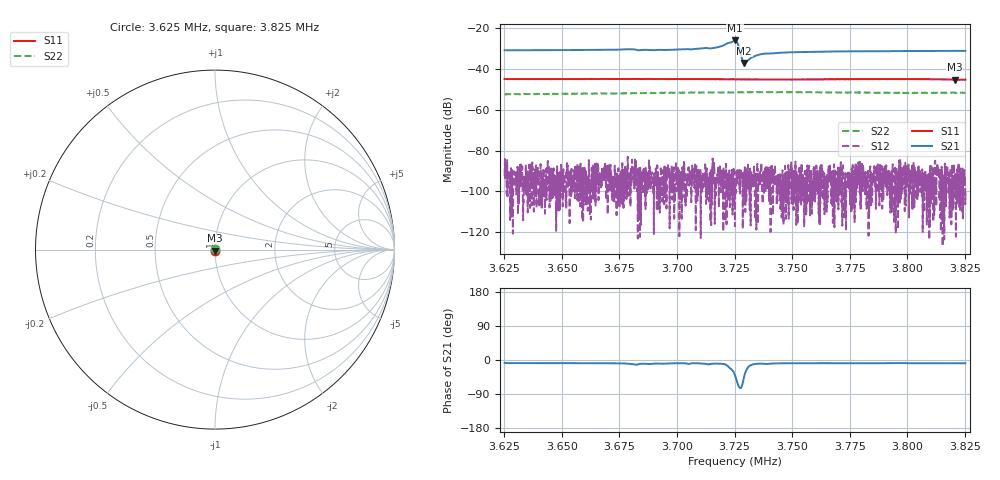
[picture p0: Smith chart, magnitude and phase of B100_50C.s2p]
# Hz S dB R 50.000
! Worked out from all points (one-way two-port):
!   6401 points, 3.625 MHz to 3.825 MHz, reference 50 ohm
!   highest |S21| = -25.96 dB at 3.725 MHz (marker M1); lowest = -37.0 dB at 3.729 MHz (marker M2)
!   lowest |S11| = -45.2 dB at 3.821 MHz (marker M3), VSWR 1.01, Z = 49.9 - j0.544 ohm
!   |S11| at or under -10 dB: start of sweep to end of sweep
!   |S22| runs from -52.5 to -51.2 dB; largest |S21 - S12| = 0.05
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3625156  -44.83 -94.7  -30.75 -7.5  -92.32 53.5  -52.18 109.3
3658500  -44.88 -93.7  -30.65 -8.4  -99.85 77.3  -52.08 109.8
3678531  -44.83 -94.0  -30.29 -9.8  -86.35 90.9  -51.84 106.0
3683468  -44.82 -94.1  -30.78 -10.6  -90.33 -20.9  -51.87 106.0
3691844  -44.83 -94.4  -30.59 -9.3  -109.22 -89.3  -51.62 104.6
3715094  -44.96 -94.1  -29.79 -10.0  -106.52 155.3  -51.40 105.3
3719000  -44.98 -94.1  -28.89 -9.8  -97.88 115.7  -51.49 105.7
3722062  -45.01 -94.1  -27.22 -16.5  -96.75 125.6  -51.47 106.3
3725156  -45.04 -94.2  -25.96 -40.4  -110.92 139.0  -51.32 107.3
3725750  -45.05 -94.2  -26.30 -51.9  -91.52 65.0  -51.42 106.8
3726344  -45.05 -94.4  -27.53 -63.2  -91.50 90.3  -51.40 107.2
3726875  -45.04 -93.9  -29.27 -70.5  -90.92 83.7  -51.29 107.8
3728281  -45.05 -94.7  -35.45 -66.0  -91.60 102.1  -51.29 106.9
3728718  -45.03 -94.5  -36.66 -54.7  -92.29 56.2  -51.31 107.0
3729156  -45.05 -94.2  -37.00 -43.0  -95.99 -104.8  -51.34 107.2
3729937  -45.07 -94.2  -36.58 -28.8  -94.70 148.1  -51.33 107.3
3733468  -45.07 -94.3  -33.73 -11.2  -90.17 36.6  -51.33 107.5
3737437  -45.09 -94.1  -32.51 -9.8  -92.32 29.5  -51.35 109.0
3758500  -45.07 -94.4  -31.51 -8.5  -108.44 -22.0  -51.36 110.8
3791844  -44.88 -95.1  -31.25 -8.2  -91.96 57.3  -51.65 108.6
3820625  -45.23 -95.5  -31.09 -8.6  -91.53 -0.4  -51.50 105.0
3825156  -45.18 -95.6  -31.07 -8.6  -98.79 -38.8  -51.52 105.2
